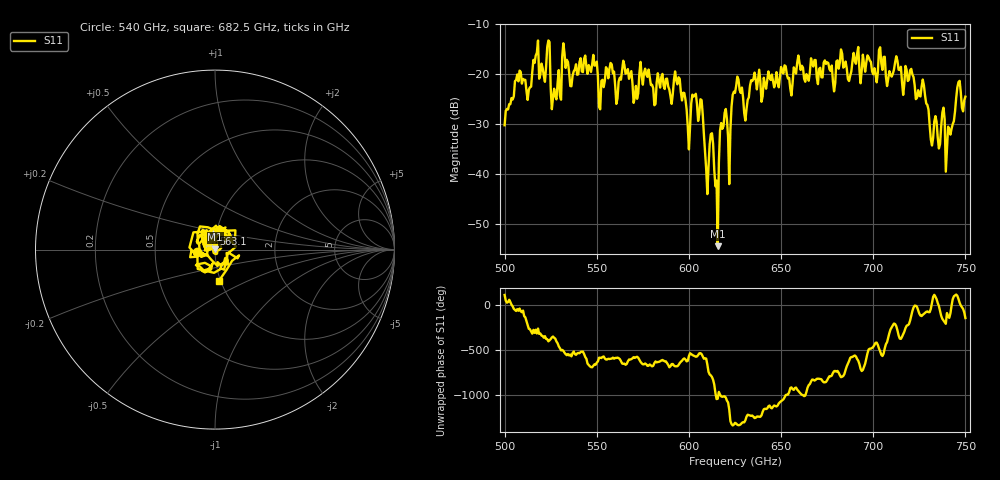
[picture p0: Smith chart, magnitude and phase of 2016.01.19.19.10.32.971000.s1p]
!Created with skrf (http://scikit-rf.org).
# GHz S RI R 50.0
!freq ReS11 ImS11
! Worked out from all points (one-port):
!   401 points, 500 GHz to 750 GHz, reference 50 ohm
!   lowest |S11| = -54.5 dB at 615.6 GHz (marker M1), VSWR 1.00, Z = 50.2 + j0.11 ohm
!   |S11| at or under -10 dB: start of sweep to end of sweep
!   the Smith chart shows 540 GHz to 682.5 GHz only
!   S11 on the Smith chart (normalised r, x): 540 GHz: 0.82, -0.02; 563.1 GHz: 0.97, +0.17; 682.5 GHz: 0.98, -0.36
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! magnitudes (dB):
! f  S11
! 500 GHz  -30.2
! 507.5 GHz  -21.4
! 513.1 GHz  -23.1
! 516.9 GHz  -16.3
! 523.8 GHz  -13.2
! 526.9 GHz  -22.9
! 531.2 GHz  -16.5
! 540 GHz  -20.0
! 562.5 GHz  -20.7
! 563.1 GHz  -21.1
! 593.8 GHz  -22.0
! 599.4 GHz  -30.5
! 602.5 GHz  -24.5
! 606.9 GHz  -25.2
! 609.4 GHz  -39.1
! 612.5 GHz  -31.9
! 615.6 GHz  -54.5
! 618.1 GHz  -31.0
! 621.9 GHz  -42.1
! 625 GHz  -23.7
! 631.2 GHz  -27.0
! 656.2 GHz  -21.8
! 682.5 GHz  -15.0
! 687.5 GHz  -20.3
! 718.8 GHz  -21.4
! 740.6 GHz  -30.5
! 746.2 GHz  -21.6
! 750 GHz  -24.5
